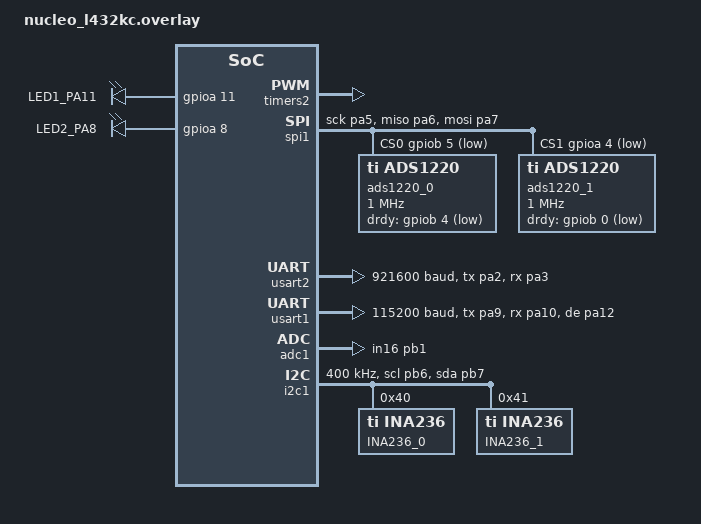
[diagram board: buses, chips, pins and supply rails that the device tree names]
#include <zephyr/dt-bindings/gpio/gpio.h>
#include <zephyr/dt-bindings/adc/adc.h>
#include <zephyr/dt-bindings/sensor/ina230.h>

// To change pwm channels change it in main.c as well as here.

/ {
    leds {
        compatible = "gpio-leds";

        led1: led_1 {
            gpios = <&gpioa 11 GPIO_ACTIVE_HIGH>;
            label = "LED1_PA11";
        };

        led2: led_2 {
            gpios = <&gpioa 8 GPIO_ACTIVE_HIGH>;
            label = "LED2_PA8";
        };
    };
};

&timers2 {
    status = "okay";

    pwm2: pwm {
        status = "okay";
        //pinctrl-0 = <&tim2_ch2_pa1 &tim2_ch4_pa3>;
        pinctrl-0 = <&tim2_ch2_pa1 &tim2_ch1_pa15>;
        pinctrl-names = "default";
    };
};

&spi1 {
    status = "okay";

    /* Naudojam default board pinctrl */
    pinctrl-0 = </*&spi1_nss_pa4*/ &spi1_sck_pa5
                 &spi1_miso_pa6 &spi1_mosi_pa7>;
    pinctrl-names = "default";

    /* CS per PA4 */
    cs-gpios = <
        &gpiob 5 GPIO_ACTIVE_LOW /*PT1000*/
        &gpioa 4 GPIO_ACTIVE_LOW /*LM35*/
    >;

    /*ADS1220 PT1000*/
    ads1220_0: ads1220@0 {
        compatible = "ti,ads1220";
        reg = <0>;
        spi-max-frequency = <1000000>;

        /* Atskiras DRDY pinas */
        drdy-gpios = <&gpiob 4 GPIO_ACTIVE_LOW>;
        // pga-bypass;
        data-rate = <0>;
        operating-mode = <0>;

        idac-magnitude-microamp = <250>;
        idac1-routing = <4>;        /* AIN3 */
        idac2-routing = <0>;        /* Disabled */

        #io-channel-cells = <1>;
        #address-cells = <1>;
        #size-cells = <0>;

        channel@0 {
            reg = <0>;

            zephyr,differential;
            zephyr,input-positive = <0>;   /* AIN0 */
            zephyr,input-negative = <1>;   /* AIN1 */

            zephyr,gain = "ADC_GAIN_4";
            zephyr,reference = "ADC_REF_EXTERNAL0";
            zephyr,acquisition-time = <ADC_ACQ_TIME_DEFAULT>;
        };
    };

    /*ADS1220 LM35*/
    ads1220_1: ads1220@1 {
        compatible = "ti,ads1220";
        reg = <1>;
        spi-max-frequency = <1000000>;
        data-rate = <0>;
        /* Atskiras DRDY pinas */
        drdy-gpios = <&gpiob 0 GPIO_ACTIVE_LOW>;
        pga-bypass;

        #io-channel-cells = <1>;
        #address-cells = <1>;
        #size-cells = <0>;

        channel@0 {
            reg = <0>;
            zephyr,gain = "ADC_GAIN_4";
            zephyr,reference = "ADC_REF_INTERNAL";
            zephyr,acquisition-time = <ADC_ACQ_TIME_DEFAULT>;
        };
    };

};

&usart2 {
    current-speed = <921600>;
    //pinctrl-0 = <&usart2_tx_pa2 &usart2_rx_pa15>;

    pinctrl-0 = <&usart2_tx_pa2 &usart2_rx_pa3>;
};

&usart1 {
    status = "okay";
    current-speed = <115200>;

    pinctrl-0 = <
        &usart1_tx_pa9
        &usart1_rx_pa10
        &usart1_de_pa12
    >;

    de-enable;
    de-assert-time = <1>;
    de-deassert-time = <1>;

    pinctrl-names = "default";
};

&adc1 {
    status = "okay";
    st,adc-clock-source = "SYNC";
    st,adc-prescaler = <4>;
    pinctrl-0 = <&adc1_in16_pb1>;
    pinctrl-names = "default";
};

&i2c1 {
    pinctrl-0 = <&i2c1_scl_pb6 &i2c1_sda_pb7>;
    pinctrl-names = "default";
    clock-frequency = <I2C_BITRATE_FAST>;
    status = "okay";

    ina236_0: ina236@40 {
        compatible = "ti,ina236";
        reg = <0x40>;
        label = "INA236_0";

        rshunt-micro-ohms = <100000>;
        current-lsb-microamps = <100>;
    };

    ina236_1: ina236@41 {
        compatible = "ti,ina236";
        reg = <0x41>;
        label = "INA236_1";

        rshunt-micro-ohms = <100000>;
        current-lsb-microamps = <100>;
    };
};
